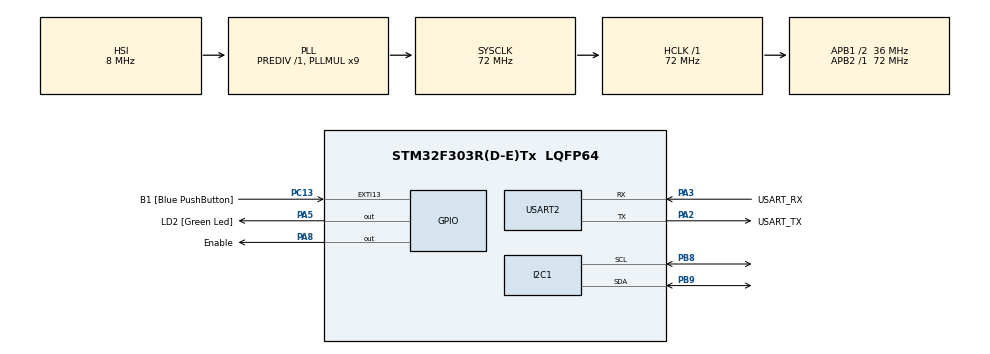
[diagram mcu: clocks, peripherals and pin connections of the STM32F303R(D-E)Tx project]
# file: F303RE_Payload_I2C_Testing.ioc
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Mcu.Family=STM32F3
Mcu.Name=STM32F303R(D-E)Tx
Mcu.Package=LQFP64
NVIC.PriorityGroup=NVIC_PRIORITYGROUP_0
PA13.GPIO_Label=TMS
PA13.Mode=Serial_Wire
PA13.Signal=SYS_JTMS-SWDIO
PA14.GPIO_Label=TCK
PA14.Mode=Serial_Wire
PA14.Signal=SYS_JTCK-SWCLK
PA2.GPIO_Label=USART_TX
PA2.GPIO_Mode=GPIO_MODE_AF_PP
PA2.GPIO_PuPd=GPIO_NOPULL
PA2.GPIO_Speed=GPIO_SPEED_FREQ_LOW
PA2.Mode=Asynchronous
PA2.Signal=USART2_TX
PA3.GPIO_Label=USART_RX
PA3.GPIO_Mode=GPIO_MODE_AF_PP
PA3.GPIO_PuPd=GPIO_NOPULL
PA3.GPIO_Speed=GPIO_SPEED_FREQ_LOW
PA3.Mode=Asynchronous
PA3.Signal=USART2_RX
PA5.GPIO_Label=LD2 [Green Led]
PA5.GPIO_Mode=GPIO_MODE_OUTPUT_PP
PA5.GPIO_PuPd=GPIO_NOPULL
PA5.GPIO_Speed=GPIO_SPEED_FREQ_LOW
PA5.Signal=GPIO_Output
PA8.GPIO_Label=Enable
PA8.Signal=GPIO_Output
PB3.GPIO_Label=SWO
PB3.Signal=SYS_JTDO-TRACESWO
PB8.Mode=I2C
PB8.Signal=I2C1_SCL
PB9.Mode=I2C
PB9.Signal=I2C1_SDA
PC13.GPIO_Label=B1 [Blue PushButton]
PC13.GPIO_ModeDefaultEXTI=GPIO_MODE_IT_FALLING
PC13.Signal=GPXTI13
PC14-OSC32_IN.Mode=LSE-External-Oscillator
PC14-OSC32_IN.Signal=RCC_OSC32_IN
PC15-OSC32_OUT.Mode=LSE-External-Oscillator
PC15-OSC32_OUT.Signal=RCC_OSC32_OUT
PF0-OSC_IN.Mode=HSE-External-Clock-Source
PF0-OSC_IN.Signal=RCC_OSC_IN
PF1-OSC_OUT.Signal=RCC_OSC_OUT
ProjectManager.HeapSize=0x200
ProjectManager.StackSize=0x400
ProjectManager.TargetToolchain=STM32CubeIDE
RCC.AHBFreq_Value=72000000
RCC.APB1CLKDivider=RCC_HCLK_DIV2
RCC.APB1Freq_Value=36000000
RCC.APB1TimFreq_Value=72000000
RCC.APB2Freq_Value=72000000
RCC.APB2TimFreq_Value=72000000
RCC.CortexFreq_Value=72000000
RCC.HCLKFreq_Value=72000000
RCC.HSE_VALUE=8000000
RCC.HSI_VALUE=8000000
RCC.PLLM=8
RCC.PLLMUL=RCC_PLL_MUL9
RCC.PLLN=336
RCC.PLLP=RCC_PLLP_DIV4
RCC.PLLQ=7
RCC.RCC_PLLsource_Clock_Source_FROM_HSE=RCC_HSE_PREDIV_DIV2
RCC.SYSCLKFreq_VALUE=72000000
RCC.SYSCLKSourceVirtual=RCC_SYSCLKSOURCE_PLLCLK
RCC.USBFreq_Value=72000000
USART2.VirtualMode-Asynchronous=VM_ASYNC
board=NUCLEO-F303RE

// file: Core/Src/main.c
/* USER CODE BEGIN Header */
/**
  ******************************************************************************
  * @file           : main.c
  * @brief          : Main program body
  ******************************************************************************
  * @attention
  *
  * <h2><center>&copy; Copyright (c) 2022 STMicroelectronics.
  * All rights reserved.</center></h2>
  *
  * This software component is licensed by ST under BSD 3-Clause license,
  * the "License"; You may not use this file except in compliance with the
  * License. You may obtain a copy of the License at:
  *                        opensource.org/licenses/BSD-3-Clause
  *
  ******************************************************************************
  */
/* USER CODE END Header */
#include "main.h"

I2C_HandleTypeDef hi2c1;

UART_HandleTypeDef huart2;

void SystemClock_Config(void);
static void MX_GPIO_Init(void);
static void MX_USART2_UART_Init(void);
static void MX_I2C1_Init(void);

/* USER CODE BEGIN 0 */

#define TEENSY_ADDRESS 0x08 << 1
#define DATA_REG 0x02 //Don't know it
#define BUFFER_SIZE 50

/* USER CODE END 0 */

int main(void)
{
  /* USER CODE BEGIN 1 */
	HAL_StatusTypeDef ret;
	uint8_t buffer[BUFFER_SIZE];

  /* USER CODE END 1 */

  /* MCU Configuration--------------------------------------------------------*/

  /* Reset of all peripherals, Initializes the Flash interface and the Systick. */
  HAL_Init();

  /* Configure the system clock */
  SystemClock_Config();

  /* Initialize all configured peripherals */
  MX_GPIO_Init();
  MX_USART2_UART_Init();
  MX_I2C1_Init();

  /* Infinite loop */
  /* USER CODE BEGIN WHILE */
  while (1)
  {
	  HAL_GPIO_WritePin(Enable_GPIO_Port, Enable_Pin, SET);

	  buffer[0] = DATA_REG;
	  ret = HAL_I2C_Master_Transmit(&hi2c1, TEENSY_ADDRESS, buffer, 6, 100);
	  if (ret != HAL_OK){
		  HAL_UART_Transmit(&huart2, "Error1\r\n",8, 100);
	  }else{
		  ret = HAL_I2C_Master_Receive(&hi2c1, TEENSY_ADDRESS, buffer, 6, 100);
		  if (ret != HAL_OK){
			  HAL_UART_Transmit(&huart2, "Error2\r\n",8, 100);
		  }else{
			  HAL_UART_Transmit(&huart2, buffer, 6, 100);

		  }
	  }

	  HAL_GPIO_WritePin(Enable_GPIO_Port, Enable_Pin, RESET);

	  HAL_Delay(100);
    /* USER CODE END WHILE */

  }
}

void SystemClock_Config(void)
{
  RCC_OscInitTypeDef RCC_OscInitStruct = {0};
  RCC_ClkInitTypeDef RCC_ClkInitStruct = {0};
  RCC_PeriphCLKInitTypeDef PeriphClkInit = {0};

  /** Initializes the RCC Oscillators according to the specified parameters
  * in the RCC_OscInitTypeDef structure.
  */
  RCC_OscInitStruct.OscillatorType = RCC_OSCILLATORTYPE_HSI;
  RCC_OscInitStruct.HSIState = RCC_HSI_ON;
  RCC_OscInitStruct.HSICalibrationValue = RCC_HSICALIBRATION_DEFAULT;
  RCC_OscInitStruct.PLL.PLLState = RCC_PLL_ON;
  RCC_OscInitStruct.PLL.PLLSource = RCC_PLLSOURCE_HSI;
  RCC_OscInitStruct.PLL.PLLMUL = RCC_PLL_MUL9;
  RCC_OscInitStruct.PLL.PREDIV = RCC_PREDIV_DIV1;
  if (HAL_RCC_OscConfig(&RCC_OscInitStruct) != HAL_OK)
  {
    Error_Handler();
  }
  /** Initializes the CPU, AHB and APB buses clocks
  */
  RCC_ClkInitStruct.ClockType = RCC_CLOCKTYPE_HCLK|RCC_CLOCKTYPE_SYSCLK
                              |RCC_CLOCKTYPE_PCLK1|RCC_CLOCKTYPE_PCLK2;
  RCC_ClkInitStruct.SYSCLKSource = RCC_SYSCLKSOURCE_PLLCLK;
  RCC_ClkInitStruct.AHBCLKDivider = RCC_SYSCLK_DIV1;
  RCC_ClkInitStruct.APB1CLKDivider = RCC_HCLK_DIV2;
  RCC_ClkInitStruct.APB2CLKDivider = RCC_HCLK_DIV1;

  if (HAL_RCC_ClockConfig(&RCC_ClkInitStruct, FLASH_LATENCY_2) != HAL_OK)
  {
    Error_Handler();
  }
  PeriphClkInit.PeriphClockSelection = RCC_PERIPHCLK_USART2|RCC_PERIPHCLK_I2C1;
  PeriphClkInit.Usart2ClockSelection = RCC_USART2CLKSOURCE_PCLK1;
  PeriphClkInit.I2c1ClockSelection = RCC_I2C1CLKSOURCE_HSI;
  if (HAL_RCCEx_PeriphCLKConfig(&PeriphClkInit) != HAL_OK)
  {
    Error_Handler();
  }
}

static void MX_I2C1_Init(void)
{

  hi2c1.Instance = I2C1;
  hi2c1.Init.Timing = 0x2000090E;
  hi2c1.Init.OwnAddress1 = 0;
  hi2c1.Init.AddressingMode = I2C_ADDRESSINGMODE_7BIT;
  hi2c1.Init.DualAddressMode = I2C_DUALADDRESS_DISABLE;
  hi2c1.Init.OwnAddress2 = 0;
  hi2c1.Init.OwnAddress2Masks = I2C_OA2_NOMASK;
  hi2c1.Init.GeneralCallMode = I2C_GENERALCALL_DISABLE;
  hi2c1.Init.NoStretchMode = I2C_NOSTRETCH_DISABLE;
  if (HAL_I2C_Init(&hi2c1) != HAL_OK)
  {
    Error_Handler();
  }
  /** Configure Analogue filter
  */
  if (HAL_I2CEx_ConfigAnalogFilter(&hi2c1, I2C_ANALOGFILTER_ENABLE) != HAL_OK)
  {
    Error_Handler();
  }
  /** Configure Digital filter
  */
  if (HAL_I2CEx_ConfigDigitalFilter(&hi2c1, 0) != HAL_OK)
  {
    Error_Handler();
  }

}

static void MX_USART2_UART_Init(void)
{

  huart2.Instance = USART2;
  huart2.Init.BaudRate = 38400;
  huart2.Init.WordLength = UART_WORDLENGTH_8B;
  huart2.Init.StopBits = UART_STOPBITS_1;
  huart2.Init.Parity = UART_PARITY_NONE;
  huart2.Init.Mode = UART_MODE_TX_RX;
  huart2.Init.HwFlowCtl = UART_HWCONTROL_NONE;
  huart2.Init.OverSampling = UART_OVERSAMPLING_16;
  huart2.Init.OneBitSampling = UART_ONE_BIT_SAMPLE_DISABLE;
  huart2.AdvancedInit.AdvFeatureInit = UART_ADVFEATURE_NO_INIT;
  if (HAL_UART_Init(&huart2) != HAL_OK)
  {
    Error_Handler();
  }

}

static void MX_GPIO_Init(void)
{
  GPIO_InitTypeDef GPIO_InitStruct = {0};

  /* GPIO Ports Clock Enable */
  __HAL_RCC_GPIOC_CLK_ENABLE();
  __HAL_RCC_GPIOF_CLK_ENABLE();
  __HAL_RCC_GPIOA_CLK_ENABLE();
  __HAL_RCC_GPIOB_CLK_ENABLE();

  /*Configure GPIO pin Output Level */
  HAL_GPIO_WritePin(GPIOA, LD2_Pin|Enable_Pin, GPIO_PIN_RESET);

  /*Configure GPIO pin : B1_Pin */
  GPIO_InitStruct.Pin = B1_Pin;
  GPIO_InitStruct.Mode = GPIO_MODE_IT_FALLING;
  GPIO_InitStruct.Pull = GPIO_NOPULL;
  HAL_GPIO_Init(B1_GPIO_Port, &GPIO_InitStruct);

  /*Configure GPIO pins : LD2_Pin Enable_Pin */
  GPIO_InitStruct.Pin = LD2_Pin|Enable_Pin;
  GPIO_InitStruct.Mode = GPIO_MODE_OUTPUT_PP;
  GPIO_InitStruct.Pull = GPIO_NOPULL;
  GPIO_InitStruct.Speed = GPIO_SPEED_FREQ_LOW;
  HAL_GPIO_Init(GPIOA, &GPIO_InitStruct);

}

void Error_Handler(void)
{
  __disable_irq();
  while (1)
  {
  }
}

/************************ (C) COPYRIGHT STMicroelectronics *****END OF FILE****/
